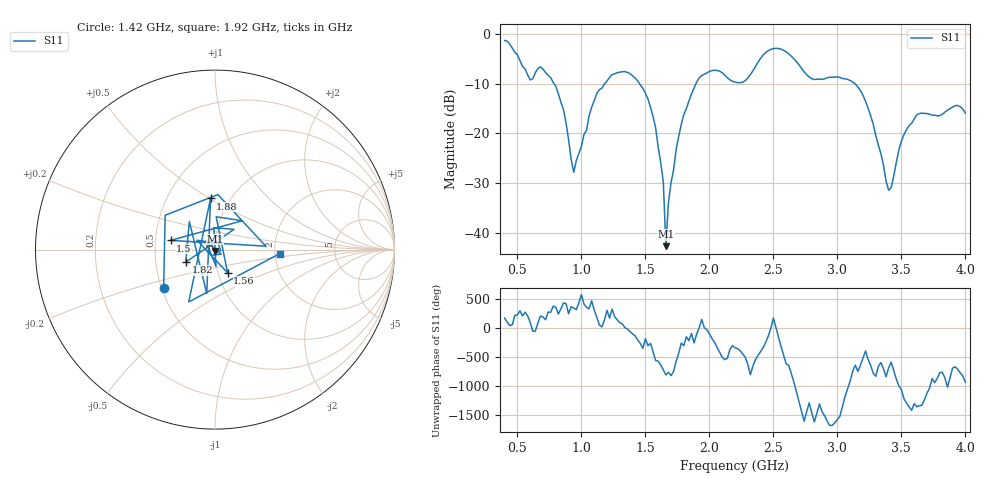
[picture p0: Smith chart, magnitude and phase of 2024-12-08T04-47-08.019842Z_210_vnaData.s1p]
!Created with skrf (http://scikit-rf.org).
# Hz S RI R 50.0
!freq ReS11 ImS11
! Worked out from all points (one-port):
!   181 points, 400 MHz to 4 GHz, reference 50 ohm
!   lowest |S11| = -42.6 dB at 1.66 GHz (marker M1), VSWR 1.01, Z = 49.9 - j0.736 ohm
!   |S11| at or under -10 dB: 785.7 MHz to 1.183 GHz (397.4 MHz wide, 40.4 % of centre); 1.454 GHz to 1.895 GHz (441.7 MHz wide, 26.4 % of centre); 3.136 GHz to end of sweep
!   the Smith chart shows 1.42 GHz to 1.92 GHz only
!   S11 on the Smith chart (normalised r, x): 1.42 GHz: 0.51, -0.25; 1.5 GHz: 0.60, +0.07; 1.56 GHz: 1.11, -0.29; 1.82 GHz: 0.71, -0.10; 1.88 GHz: 0.81, +0.50; 1.92 GHz: 2.12, -0.11
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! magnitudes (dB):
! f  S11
! 400 MHz  -1.3
! 600 MHz  -9.3
! 680 MHz  -6.6
! 760 MHz  -8.8
! 860 MHz  -15.2
! 940 MHz  -27.8
! 1.12 GHz  -12.0
! 1.3 GHz  -7.7
! 1.42 GHz  -8.9
! 1.5 GHz  -11.9
! 1.56 GHz  -16.6
! 1.64 GHz  -29.8
! 1.66 GHz  -42.6
! 1.68 GHz  -33.8
! 1.76 GHz  -20.6
! 1.82 GHz  -15.0
! 1.88 GHz  -10.9
! 1.92 GHz  -8.9
! 2.2 GHz  -9.7
! 2.48 GHz  -3.1
! 2.66 GHz  -5.0
! 2.8 GHz  -9.0
! 3.1 GHz  -9.4
! 3.24 GHz  -15.0
! 3.4 GHz  -31.4
! 3.56 GHz  -18.4
! 3.92 GHz  -14.4
! 4 GHz  -15.9
